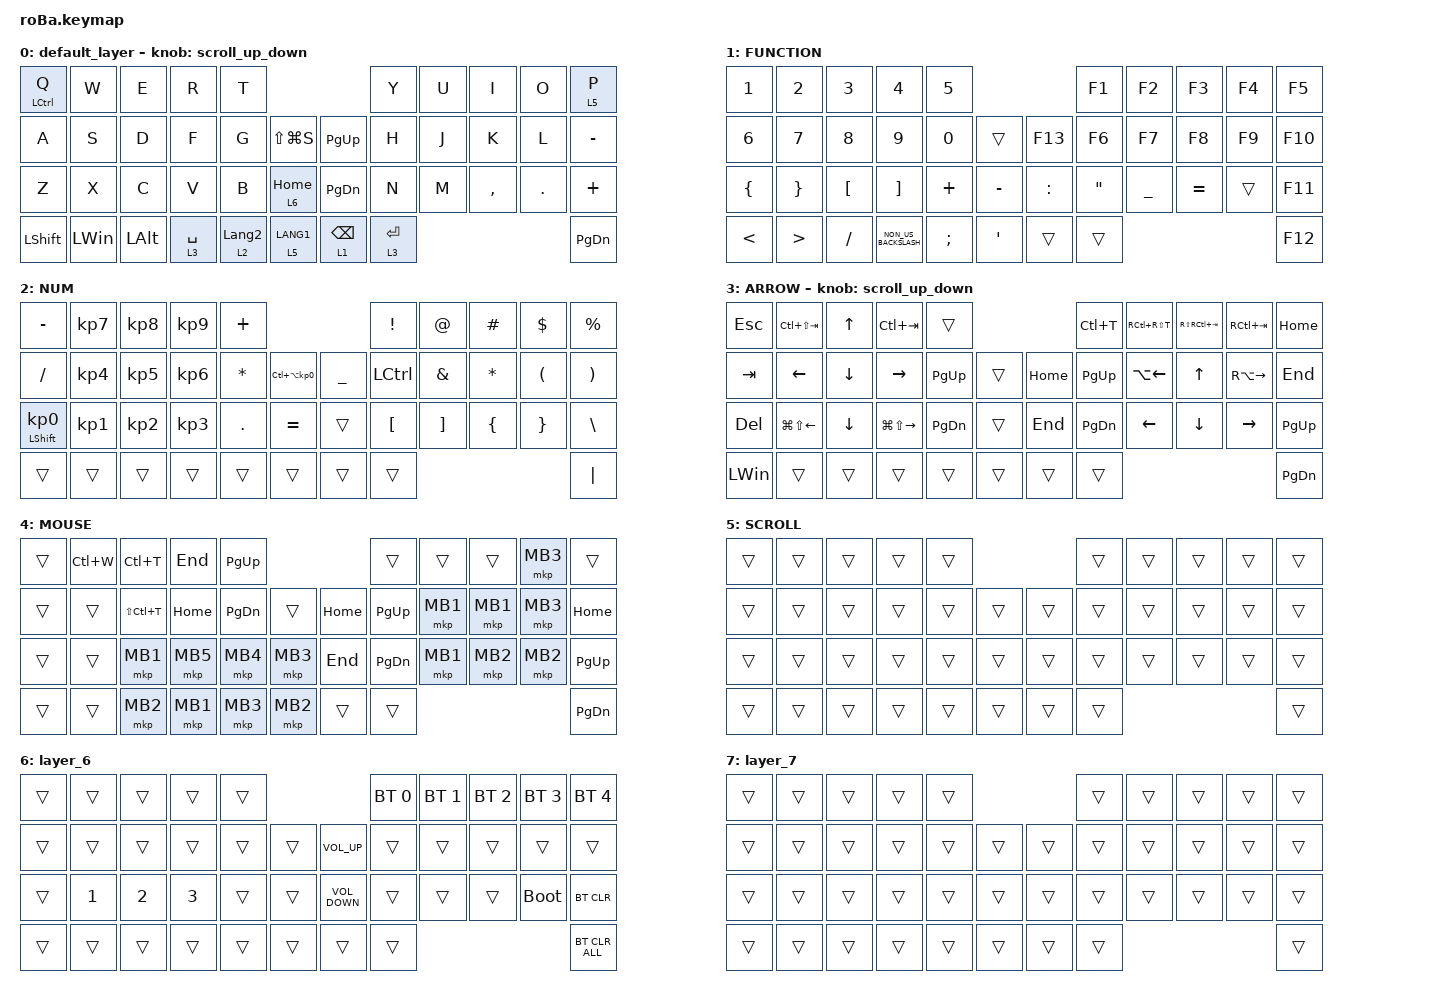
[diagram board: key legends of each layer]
#include <behaviors.dtsi>
#include <dt-bindings/zmk/bt.h>
#include <dt-bindings/zmk/keys.h>
#include <dt-bindings/zmk/pointing.h>

#define ZMK_POINTING_DEFAULT_SCRL_VAL 100

&mt {
    flavor = "balanced";
    quick-tap-ms = <0>;
};

&trackball {
    automouse-layer = <4>;
    scroll-layers = <5>;

    // arrows {
    //     layers = <3>;
    //     bindings =
    //         <&kp RIGHT_ARROW>,
    //         <&kp LEFT_ARROW>,
    //         <&kp UP_ARROW>,
    //         <&kp DOWN_ARROW>;
    //     tick = <10>;
    //     wait-ms = <5>;
    //     tap-ms = <5>;
    // };
};

/ {
    combos {
        compatible = "zmk,combos";

        tab {
            bindings = <&kp TAB>;
            key-positions = <11 12>;
        };

        shift_tab {
            bindings = <&kp LS(TAB)>;
            key-positions = <12 13>;
        };

        muhennkann {
            bindings = <&to_layer_0 INT_MUHENKAN>;
            key-positions = <11 10>;
        };

        double_quotation {
            bindings = <&kp DOUBLE_QUOTES>;
            key-positions = <20 21>;
        };

        eq {
            bindings = <&kp EQUAL>;
            key-positions = <24 25>;
        };
    };

    macros {
        to_layer_0: to_layer_0 {
            compatible = "zmk,behavior-macro-one-param";
            #binding-cells = <1>;
            bindings = <&to 0 &macro_param_1to1 &kp MACRO_PLACEHOLDER>;
            label = "TO_LAYER_0";
        };
    };

    behaviors {
        scroll_up_down: behavior_sensor_rotate_mouse_wheel_up_down {
            compatible = "zmk,behavior-sensor-rotate";
            #sensor-binding-cells = <0>;
            bindings = <&msc SCRL_UP>, <&msc SCRL_DOWN>;

            // 追加: スクロールのタップ時間を設定 (20ms)

            tap-ms = <20>;
        };
    };

    keymap {
        compatible = "zmk,keymap";

        default_layer {
            bindings = <
&mt LCTRL Q  &kp W         &kp E         &kp R        &kp T                                                 &kp Y        &kp U  &kp I      &kp O    &lt 5 P
&kp A        &kp S         &kp D         &kp F        &kp G             &kp LS(LG(S))      &kp PAGE_UP      &kp H        &kp J  &kp K      &kp L    &kp MINUS
&kp Z        &kp X         &kp C         &kp V        &kp B             &lt 6 HOME         &kp PAGE_DOWN    &kp N        &kp M  &kp COMMA  &kp DOT  &kp PLUS
&kp LSHFT    &kp LEFT_WIN  &kp LEFT_ALT  &lt 3 SPACE  &lt 2 LANGUAGE_2  &lt 5 LANG1        &lt 1 BACKSPACE  &lt 3 ENTER                             &kp PAGE_DOWN
            >;

            sensor-bindings = <&scroll_up_down>;
        };

        FUNCTION {
            bindings = <
&kp N1          &kp N2            &kp N3            &kp N4                &kp N5                                   &kp F1             &kp F2          &kp F3     &kp F4  &kp F5
&kp N6          &kp N7            &kp N8            &kp N9                &kp N0         &trans         &kp F13    &kp F6             &kp F7          &kp F8     &kp F9  &kp F10
&kp LEFT_BRACE  &kp RIGHT_BRACE   &kp LEFT_BRACKET  &kp RIGHT_BRACKET     &kp PLUS       &kp MINUS      &kp COLON  &kp DOUBLE_QUOTES  &kp UNDERSCORE  &kp EQUAL  &trans  &kp F11
&kp LESS_THAN   &kp GREATER_THAN  &kp SLASH         &kp NON_US_BACKSLASH  &kp SEMICOLON  &kp SQT        &trans     &trans                                                &kp F12
            >;
        };

        NUM {
            bindings = <
&kp MINUS                   &kp KP_NUMBER_7  &kp KP_NUMBER_8  &kp KP_NUMBER_9  &kp PLUS                                                   &kp EXCLAMATION   &kp AT_SIGN        &kp HASH        &kp DOLLAR            &kp PERCENT
&kp SLASH                   &kp KP_NUMBER_4  &kp KP_NUMBER_5  &kp KP_NUMBER_6  &kp ASTERISK  &kp LC(LA(KP_NUMBER_0))      &kp UNDERSCORE  &kp LCTRL         &kp AMPERSAND      &kp ASTERISK    &kp LEFT_PARENTHESIS  &kp RIGHT_PARENTHESIS
&mt LEFT_SHIFT KP_NUMBER_0  &kp KP_NUMBER_1  &kp KP_NUMBER_2  &kp KP_NUMBER_3  &kp PERIOD    &kp EQUAL                    &trans          &kp LEFT_BRACKET  &kp RIGHT_BRACKET  &kp LEFT_BRACE  &kp RIGHT_BRACE       &kp BACKSLASH
&trans                      &trans           &trans           &trans           &trans        &trans                       &trans          &trans                                                                     &kp PIPE
            >;
        };

        ARROW {
            bindings = <
&kp ESCAPE    &kp LC(LS(TAB))         &kp UP_ARROW    &kp LC(TAB)              &trans                               &kp LC(T)      &kp RC(RS(T))       &kp RS(RC(TAB))  &kp RC(TAB)          &kp HOME
&kp TAB       &kp LEFT_ARROW          &kp DOWN_ARROW  &kp RIGHT_ARROW          &kp PAGE_UP    &trans      &kp HOME  &kp PAGE_UP    &kp LA(LEFT_ARROW)  &kp UP_ARROW     &kp RA(RIGHT_ARROW)  &kp END
&kp DEL       &kp LG(LS(LEFT_ARROW))  &kp DOWN_ARROW  &kp LG(LS(RIGHT_ARROW))  &kp PAGE_DOWN  &trans      &kp END   &kp PAGE_DOWN  &kp LEFT_ARROW      &kp DOWN_ARROW   &kp RIGHT_ARROW      &kp PAGE_UP
&kp LEFT_WIN  &trans                  &trans          &trans                   &trans         &trans      &trans    &trans                                                                   &kp PAGE_DOWN
            >;

            sensor-bindings = <&scroll_up_down>;
        };

        MOUSE {
            bindings = <
&trans  &kp LC(W)  &kp LC(T)      &kp END   &kp PAGE_UP                            &trans         &trans    &trans    &mkp MB3  &trans
&trans  &trans     &kp LS(LC(T))  &kp HOME  &kp PAGE_DOWN  &trans        &kp HOME  &kp PAGE_UP    &mkp MB1  &mkp MB1  &mkp MB3  &kp HOME
&trans  &trans     &mkp MB1       &mkp MB5  &mkp MB4       &mkp MB3      &kp END   &kp PAGE_DOWN  &mkp MB1  &mkp MB2  &mkp MB2  &kp PAGE_UP
&trans  &trans     &mkp MB2       &mkp MB1  &mkp MB3       &mkp MB2      &trans    &trans                                       &kp PAGE_DOWN
            >;
        };

        SCROLL {
            bindings = <
&trans  &trans  &trans  &trans  &trans                      &trans  &trans  &trans  &trans  &trans
&trans  &trans  &trans  &trans  &trans  &trans      &trans  &trans  &trans  &trans  &trans  &trans
&trans  &trans  &trans  &trans  &trans  &trans      &trans  &trans  &trans  &trans  &trans  &trans
&trans  &trans  &trans  &trans  &trans  &trans      &trans  &trans                          &trans
            >;
        };

        layer_6 {
            bindings = <
&trans  &trans        &trans        &trans        &trans                                 &bt BT_SEL 0  &bt BT_SEL 1  &bt BT_SEL 2  &bt BT_SEL 3  &bt BT_SEL 4
&trans  &trans        &trans        &trans        &trans  &trans      &kp C_VOLUME_UP    &trans        &trans        &trans        &trans        &trans
&trans  &kp NUMBER_1  &kp NUMBER_2  &kp NUMBER_3  &trans  &trans      &kp C_VOLUME_DOWN  &trans        &trans        &trans        &bootloader   &bt BT_CLR
&trans  &trans        &trans        &trans        &trans  &trans      &trans             &trans                                                  &bt BT_CLR_ALL
            >;
        };

        layer_7 {
            bindings = <
&trans  &trans  &trans  &trans  &trans                      &trans  &trans  &trans  &trans  &trans
&trans  &trans  &trans  &trans  &trans  &trans      &trans  &trans  &trans  &trans  &trans  &trans
&trans  &trans  &trans  &trans  &trans  &trans      &trans  &trans  &trans  &trans  &trans  &trans
&trans  &trans  &trans  &trans  &trans  &trans      &trans  &trans                          &trans
            >;
        };
    };
};
